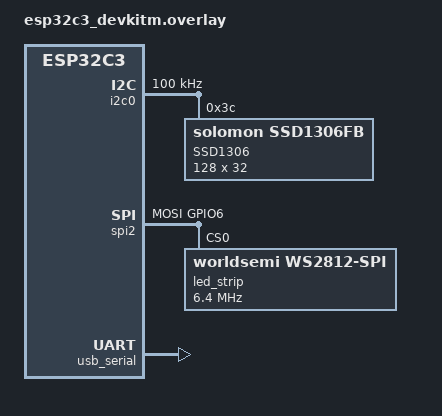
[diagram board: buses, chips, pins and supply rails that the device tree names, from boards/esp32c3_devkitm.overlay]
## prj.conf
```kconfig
CONFIG_LOG=y
CONFIG_I2C=y
CONFIG_SSD1306=y
CONFIG_SHELL=y
CONFIG_SHELL_PROMPT_UART="makerville:$ "
CONFIG_I2C_SHELL=y
CONFIG_DISPLAY=y
CONFIG_HEAP_MEM_POOL_SIZE=49152
CONFIG_CFB_LOG_LEVEL_DBG=y
CONFIG_CHARACTER_FRAMEBUFFER=y
CONFIG_CHARACTER_FRAMEBUFFER_SHELL=y
CONFIG_GPIO=y
CONFIG_MAIN_STACK_SIZE=8192
CONFIG_USB_DEVICE_STACK=y
CONFIG_SERIAL=y
CONFIG_KERNEL_BIN_NAME="makerville-badge"
CONFIG_SMF=y
CONFIG_INPUT=y
# CONFIG_BOOTLOADER_MCUBOOT=y

CONFIG_BT=y
CONFIG_BT_PERIPHERAL=y
CONFIG_BT_SMP=y
CONFIG_BT_DEVICE_NAME="Makerville Badge"
CONFIG_BT_DIS=y
CONFIG_BT_DIS_PNP=n
CONFIG_BT_DEVICE_APPEARANCE=768

# Bluetooth GATT configurations
CONFIG_BT_GATT_SERVICE_CHANGED=y
CONFIG_BT_GATT_DYNAMIC_DB=y
CONFIG_BT_GATT_CACHING=y

#Enable neopixel
CONFIG_LED_STRIP=y
```

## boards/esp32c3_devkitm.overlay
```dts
#include <zephyr/dt-bindings/led/led.h>

/ {
	chosen {
		zephyr,display = &ssd1306;
		zephyr,console = &usb_serial;
		zephyr,shell-uart = &usb_serial;
	};

	aliases {
		led-strip = &led_strip;
	};
};

&i2c0 {
	status = "okay";
	pinctrl-0 = <&i2c0_default>;
	pinctrl-names = "default";
	clock-frequency = <100000>;

	ssd1306: ssd1306@3c {
		status = "okay";
		compatible = "solomon,ssd1306fb";
		reg = <0x3c>;
		label = "SSD1306";
		width = <128>;
		height = <32>;
		segment-offset = <0>;
		page-offset = <0>;
		display-offset = <0>;
		multiplex-ratio = <31>;
		prechargep = <0x22>;
		com-invdir;
		segment-remap;
	};
};

&spi2 {
	pinctrl-0 = <&spim2_default>;
	pinctrl-names = "default";

	/* Workaround to support WS2812 driver */
	line-idle-low;

	led_strip: ws2812@0 {
		compatible = "worldsemi,ws2812-spi";

		/* SPI */
		reg = <0>; /* ignored, but necessary for SPI bindings */
		spi-max-frequency = <6400000>;

		/* WS2812 */
		chain-length = <1>; /* only one neopixel on board */
		spi-cpha;
		spi-one-frame = <0xf0>; /* 11110000: 625 ns high and 625 ns low */
		spi-zero-frame = <0xc0>; /* 11000000: 312.5 ns high and 937.5 ns low */
		color-mapping = <LED_COLOR_ID_GREEN
				 LED_COLOR_ID_RED
				 LED_COLOR_ID_BLUE>;
	};
};

&pinctrl {
	i2c0_default: i2c0_default {
		group1 {
			pinmux = <I2C0_SDA_GPIO7>, <I2C0_SCL_GPIO8>;
			bias-pull-up;
			drive-open-drain;
			output-high;
		};
	};

	spim2_default: spim2_default {
		group2 {
			pinmux = <SPIM2_MOSI_GPIO6>;
		};
	};
};

&usb_serial {
	status = "okay";
};

// &spi1 {
//   status = "okay";
//   compatible = "espressif,esp32-spi";
//   led_strip: led_strip@0 {
//     compatible = "worldsemi,ws2812";
//     reg = <0>;
//     spi-max-frequency = <10000000>;
//     chain-length = <1>;
//     spi-bus-width = <1>;
//   };
// }
```

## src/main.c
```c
#include <zephyr/kernel.h>
#include <zephyr/logging/log.h>
#include <zephyr/drivers/display.h>
#include <zephyr/device.h>
#include <zephyr/devicetree.h>
#include <zephyr/display/cfb.h>
#include <zephyr/drivers/gpio.h>
#include <zephyr/smf.h>
#include <zephyr/input/input.h>
#include <zephyr/types.h>
#include <zephyr/sys/byteorder.h>
#include <zephyr/bluetooth/bluetooth.h>
#include <zephyr/bluetooth/hci.h>
#include <zephyr/bluetooth/conn.h>
#include <zephyr/bluetooth/uuid.h>
#include <zephyr/bluetooth/gatt.h>
#include <zephyr/shell/shell.h>
#include <zephyr/drivers/led_strip.h>
#include <string.h>
#define LOG_LEVEL LOG_LEVEL_DGB
LOG_MODULE_REGISTER(badge_shell);

#define STRIP_NODE  DT_ALIAS(led_strip)
#if !DT_NODE_HAS_STATUS(STRIP_NODE, okay)
#error "LED strip device not defined in devicetree"
#endif

#define STRIP_NUM_PIXELS DT_PROP(STRIP_NODE, chain_length)
#define LED_DELAY  K_MSEC(600)
#define RGB(_r, _g, _b) ((struct led_rgb) { .r = (_r), .g = (_g), .b = (_b)})
static const struct device *const strip = DEVICE_DT_GET(STRIP_NODE);

static struct led_rgb pixels[STRIP_NUM_PIXELS];

static void set_led_color(struct led_rgb color)
{
  for (int i = 0; i < STRIP_NUM_PIXELS; i++){
    pixels[i] = color;
  }
  int rc = led_strip_update_rgb(strip, pixels, STRIP_NUM_PIXELS);
  if(rc){
    LOG_ERR("led strip update failed: %d",rc);
  }else{
    LOG_INF("LED color set: R=%u G=%u B=%u", color.r, color.g, color.b);
  }
}

static int cmd_led(const struct shell *shell, size_t argc, char **argv)
{
  if (argc != 4){
    shell_print(shell, "Usage: led <red> <green> <blue> (each 0-255)");
    return -EINVAL;
  }

  char *endptr;
  long r = strtol(argv[1], &endptr, 10);
  if (*endptr != '\0' || r < 0 || r > 255) {
    shell_error(shell, "Invalid red value (0-255)");
    return -EINVAL;
  }
  long g = strtol(argv[2], &endptr, 10);
  if (*endptr != '\0' || g < 0 || g > 255) {
    shell_error(shell, "Invalid green value (0-255)");
    return -EINVAL;
  }
  long b = strtol(argv[3], &endptr, 10);
  if (*endptr != '\0' || b < 0 || b > 255) {
    shell_error(shell, "Invalid blue value (0-255)");
    return -EINVAL;
  }

  set_led_color(RGB((uint8_t)r, (uint8_t)g, (uint8_t)b));
  return 0;
}
SHELL_CMD_REGISTER(led, NULL, "Set LED color (r, g, b)", cmd_led);


static const struct smf_state badge_states[];

enum badge_state {
  BADGE_STATE_INIT,
  BADGE_STATE_IDLE,
  BADGE_STATE_ERROR,
};

enum badge_event {
  BADGE_EVENT_DISPLAY_ERROR,
  BADGE_EVENT_BLE_ERROR,
  BADGE_EVENT_SHORT_BUTTON_PRESS,
  BADGE_EVENT_LONG_BUTTON_PRESS,
};

// Forward declarations
void display_text(char* text);
void gen_event(enum badge_event event);

struct global_context{
  int64_t button_press_time;
} gc;

K_MSGQ_DEFINE(event_msgq, sizeof(enum badge_event), 10,1);

struct s_object {
  struct smf_ctx ctx;
  enum badge_event event;
}s_obj;

//LOG_MODULE_REGISTER(BADGE, LOG_LEVEL_DBG);
const struct device *display_dev;

// Define work queue for display operations
K_THREAD_STACK_DEFINE(display_stack, 1024);
struct k_work_q display_work_q;

// Structure to hold display text work
struct display_work_item {
    struct k_work work;
    char text[32];
    bool update_text;
};

// Create a single work item that we'll reuse
static struct display_work_item display_item;

// BLE service UUIDs
#define BADGE_SERVICE_UUID 0x1234
#define BADGE_CHARACTERISTIC_UUID 0x5678

// BLE service data
static uint8_t badge_data[32] = "Makerville Badge MS";

// Read callback for the characteristic
static ssize_t read_badge_data(struct bt_conn *conn,
                             const struct bt_gatt_attr *attr,
                             void *buf, uint16_t len, uint16_t offset)
{
    return bt_gatt_attr_read(conn, attr, buf, len, offset, badge_data,
                            strlen(badge_data));
}

// Write callback for the characteristic
static ssize_t write_badge_data(struct bt_conn *conn,
                              const struct bt_gatt_attr *attr,
                              const void *buf, uint16_t len, uint16_t offset,
                              uint8_t flags)
{
    if (offset + len > sizeof(badge_data)) {
        return BT_GATT_ERR(BT_ATT_ERR_INVALID_OFFSET);
    }

    memcpy(badge_data + offset, buf, len);
    badge_data[len] = '\0';  // Ensure null termination

    LOG_INF("Received data: %s", badge_data);
    display_text(badge_data);
    return len;
}

static struct bt_gatt_attr attrs[] = {
    BT_GATT_PRIMARY_SERVICE(BT_UUID_DECLARE_16(BADGE_SERVICE_UUID)),
    BT_GATT_CHARACTERISTIC(BT_UUID_DECLARE_16(BADGE_CHARACTERISTIC_UUID),
                          BT_GATT_CHRC_READ | BT_GATT_CHRC_WRITE,
                          BT_GATT_PERM_READ | BT_GATT_PERM_WRITE,
                          read_badge_data, write_badge_data, badge_data),
};

static struct bt_gatt_service badge_service = {
    .attrs = attrs,
    .attr_count = ARRAY_SIZE(attrs),
};

// Helper function to start advertising
static int start_advertising(void)
{
    int err;

    // Stop any existing advertising first
    err = bt_le_adv_stop();
    if (err) {
        LOG_ERR("Failed to stop advertising (err %d)", err);
        // Continue anyway as we want to try starting
    }

    struct bt_le_adv_param param = {
        .id = 0,
        .sid = 0,
        .secondary_max_skip = 0,
        .options = BT_LE_ADV_OPT_CONN  | BT_LE_ADV_OPT_USE_NAME,
        .interval_min = BT_GAP_ADV_FAST_INT_MIN_2,
        .interval_max = BT_GAP_ADV_FAST_INT_MAX_2,
        .peer = NULL,
    };
    /* wait for 1 second */
    k_msleep(1000);
    err = bt_le_adv_start(&param, NULL, 0, NULL, 0);
    if (err) {
        LOG_ERR("Advertising failed to start (err %d)", err);
        return err;
    }

    LOG_INF("Advertising started");
    return 0;
}

// BLE connection callback
static void connected(struct bt_conn *conn, uint8_t err)
{
    if (err) {
        LOG_ERR("Connection failed (err %u)", err);
        gen_event(BADGE_EVENT_BLE_ERROR);
    } else {
        LOG_INF("Connected");
    }
}

static void disconnected(struct bt_conn *conn, uint8_t reason)
{
    LOG_INF("Disconnected (reason %u)", reason);

    // Restart advertising
    int err = start_advertising();
    if (err) {
        LOG_ERR("Failed to restart advertising (err %d)", err);
        gen_event(BADGE_EVENT_BLE_ERROR);
    }
}

BT_CONN_CB_DEFINE(conn_callbacks) = {
    .connected = connected,
    .disconnected = disconnected,
};

// BLE initialization function
static int ble_init(void)
{
    int err;

    err = bt_enable(NULL);
    if (err) {
        LOG_ERR("Bluetooth init failed (err %d)", err);
        gen_event(BADGE_EVENT_BLE_ERROR);
        return err;
    }

    LOG_INF("Bluetooth initialized");

    err = bt_gatt_service_register(&badge_service);
    if (err) {
        LOG_ERR("Service registration failed (err %d)", err);
        gen_event(BADGE_EVENT_BLE_ERROR);
        return err;
    }

    return start_advertising();
}

/* Send a message to the display thread */
void message_display_thread(char* text)
{
  LOG_INF("Message display thread");
}

void gen_event(enum badge_event event)
{
  k_msgq_put(&event_msgq, (void*)&event, K_NO_WAIT);
}

int display_init()
{
  uint16_t x_res;
	uint16_t y_res;
	uint16_t rows;
	uint8_t ppt;

	if (display_set_pixel_format(display_dev, PIXEL_FORMAT_MONO10) != 0) {
		if (display_set_pixel_format(display_dev, PIXEL_FORMAT_MONO01) != 0) {
			printf("Failed to set required pixel format");
			return 0;
		}
	}

	printf("Initialized %s\n", display_dev->name);

	if (cfb_framebuffer_init(display_dev)) {
		printf("Framebuffer initialization failed!\n");
		return 0;
	}

	cfb_framebuffer_clear(display_dev, true);

	display_blanking_off(display_dev);

	x_res = cfb_get_display_parameter(display_dev, CFB_DISPLAY_WIDTH);
	y_res = cfb_get_display_parameter(display_dev, CFB_DISPLAY_HEIGHT);
	rows = cfb_get_display_parameter(display_dev, CFB_DISPLAY_ROWS);
	ppt = cfb_get_display_parameter(display_dev, CFB_DISPLAY_PPT);

	/* for (int idx = 0; idx < 42; idx++) { */
	/* 	if (cfb_get_font_size(display_dev, idx, &font_width, &font_height)) { */
	/* 		break; */
	/* 	} */
	/* 	cfb_framebuffer_set_font(display_dev, idx); */
	/* 	printf("font width %d, font height %d\n", */
	/* 	       font_width, font_height); */
  /*   if (idx==2) */
  /*     break; */
	/* } */
  cfb_framebuffer_set_font(display_dev, 2);

	printf("x_res %d, y_res %d, ppt %d, rows %d, cols %d\n",
	       x_res,
	       y_res,
	       ppt,
	       rows,
	       cfb_get_display_parameter(display_dev, CFB_DISPLAY_COLS));

	/* cfb_framebuffer_invert(display_dev); */

	cfb_set_kerning(display_dev, 0);
  return 0;
}

void display_work_handler(struct k_work *work)
{
    struct display_work_item *display_item = CONTAINER_OF(work, struct display_work_item, work);
    int x_res = cfb_get_display_parameter(display_dev, CFB_DISPLAY_WIDTH);
    int text_len = strlen(display_item->text);
    int char_width = 20; // Approximate width of each character
    int total_width = text_len * char_width;
    int x_pos = x_res; // Start from right edge

    // Clear the display once at the start
    cfb_framebuffer_clear(display_dev, true);

    while (1) {
        // Only clear the area that needs updating
        cfb_framebuffer_clear(display_dev, false);

        // Scroll the text from right to left
        while (x_pos > -total_width) {
            // Clear only the area that needs updating
            cfb_framebuffer_clear(display_dev, false);
            cfb_print(display_dev, display_item->text, x_pos, 0);
            cfb_framebuffer_finalize(display_dev);
            x_pos -= 4; // Faster scroll speed
            k_msleep(10); // Shorter delay between updates
        }

        // Reset position for next iteration
        x_pos = x_res;

        // If text was updated, break the loop to restart with new text
        if (display_item->update_text) {
            display_item->update_text = false;
            // Clear the display for the new text
            cfb_framebuffer_clear(display_dev, true);
            break;
        }
    }

    // Resubmit the work to continue scrolling
    k_work_submit_to_queue(&display_work_q, &display_item->work);
}

void display_text(char* text)
{
    // Copy the text to the work item
    strncpy(display_item.text, text, sizeof(display_item.text) - 1);
    display_item.text[sizeof(display_item.text) - 1] = '\0';
    display_item.update_text = true;

    // Submit the work to the display queue
    k_work_submit_to_queue(&display_work_q, &display_item.work);
}

int index;
#define MAX_STRINGS 3
char text[MAX_STRINGS][32]= {
  "Anuj Deshpande",
  "anujdeshpande.com",
  "Interested in developer tools!"
};

void badge_init_entry(void* arg)
{
  LOG_INF("Badge init entry");
  if (!device_is_ready(strip)){
    LOG_ERR("LED strip not ready");
    return ;
  }
  LOG_INF("LED strip ready. Use shell command: led r/g/b");
  set_led_color(RGB(0x0F, 0x0F, 0x0F)); // Default: white
  // Initialize display work queue
  k_work_queue_init(&display_work_q);
  k_work_queue_start(&display_work_q, display_stack, K_THREAD_STACK_SIZEOF(display_stack),
                    K_PRIO_COOP(7), NULL);

  // Initialize display work item
  k_work_init(&display_item.work, display_work_handler);
  display_item.update_text = false;

  display_dev = DEVICE_DT_GET(DT_CHOSEN(zephyr_display));
  if (!device_is_ready(display_dev)) {
    printk("Display_Device %s not ready\n", display_dev->name);
    smf_set_state(SMF_CTX(&s_obj), &badge_states[BADGE_STATE_ERROR]);
    gen_event(BADGE_EVENT_DISPLAY_ERROR);
    return;
  }

  LOG_INF("SSD1306 device found\n");
  display_init();

  // Initialize Bluetooth
  int err = ble_init();
  if (err) {
    LOG_ERR("Bluetooth initialization failed");
    smf_set_state(SMF_CTX(&s_obj), &badge_states[BADGE_STATE_ERROR]);
    gen_event(BADGE_EVENT_BLE_ERROR);
    return;
  }

  smf_set_state(SMF_CTX(&s_obj), &badge_states[BADGE_STATE_IDLE]);
}

void badge_init_exit(void* arg)
{
  LOG_INF("Badge init exit");
}

void badge_idle_entry(void* arg)
{
  LOG_INF("Badge idle entry");
  display_text("Makerville Badge MS!");
}

void badge_idle_run(void* arg)
{
  struct s_object *obj = (struct s_object *)arg;

  switch(obj->event) {
    case BADGE_EVENT_SHORT_BUTTON_PRESS:
      LOG_INF("Short button pressed when IDLE");
      display_text("Short button press");
      break;
    case BADGE_EVENT_LONG_BUTTON_PRESS:
      LOG_INF("Long button pressed when IDLE");
      display_text("Long button press");
      break;
    case BADGE_EVENT_BLE_ERROR:
      smf_set_state(SMF_CTX(&s_obj), &badge_states[BADGE_STATE_ERROR]);
      gen_event(BADGE_EVENT_BLE_ERROR);
      break;
    default:
      LOG_INF("Unhandled event in idle state %d", obj->event);
      break;
  }
}

void badge_idle_exit(void* arg)
{
  LOG_INF("Badge idle exit");
}

void badge_error_entry(void* arg)
{
  LOG_INF("Badge error entry");
}

void badge_error_run(void* arg)
{

  struct s_object *obj = (struct s_object *)arg;
  switch(obj->event) {
    case BADGE_EVENT_DISPLAY_ERROR:
      LOG_INF("Display error - can only show this");
      break;
    case BADGE_EVENT_BLE_ERROR:
      display_text("BLE error");
      break;
    default:
      LOG_INF("Unhandled event in error state %d", obj->event);
      break;
  }
}

void badge_error_exit(void* arg)
{
  LOG_INF("Badge error exit");
}

static const struct smf_state badge_states[] = {
  [BADGE_STATE_INIT] = SMF_CREATE_STATE(badge_init_entry, NULL, NULL,NULL,NULL),
  [BADGE_STATE_IDLE] = SMF_CREATE_STATE(badge_idle_entry, badge_idle_run, badge_idle_exit,NULL,NULL),
  [BADGE_STATE_ERROR] = SMF_CREATE_STATE(badge_error_entry, badge_error_run, badge_error_exit,NULL,NULL),
};

void input_cb(struct input_event *event, void *cb_arg)
{
    if (event->type == INPUT_EV_KEY) {
        if (event->code == INPUT_KEY_0) {
            if (event->value == 1) {
                // Button pressed
                LOG_INF("Button pressed");
                gc.button_press_time = k_uptime_get();
            } else if (event->value == 0) {
                // Button released
                LOG_INF("Button released");
                int64_t press_duration = k_uptime_get() - gc.button_press_time;
                if(press_duration > 1000) {
                  LOG_INF("Long button press");
                  gen_event(BADGE_EVENT_LONG_BUTTON_PRESS);
                } else {
                  LOG_INF("Short button press");
                  gen_event(BADGE_EVENT_SHORT_BUTTON_PRESS);
                }
            }
        }
    }
}

INPUT_CALLBACK_DEFINE(NULL, input_cb,NULL);
int main(void)
{
  int32_t ret;
  int rc;

  smf_set_initial(SMF_CTX(&s_obj), &badge_states[BADGE_STATE_INIT]);
  while(1) {
    rc = k_msgq_get(&event_msgq, &s_obj.event, K_NO_WAIT);
    if(rc == 0) {
      ret = smf_run_state(SMF_CTX(&s_obj));
      if (ret != 0) {
        LOG_ERR("SMF error: %d", ret);
      }
    }
    k_msleep(10);
  }
  return 0;
}
```
